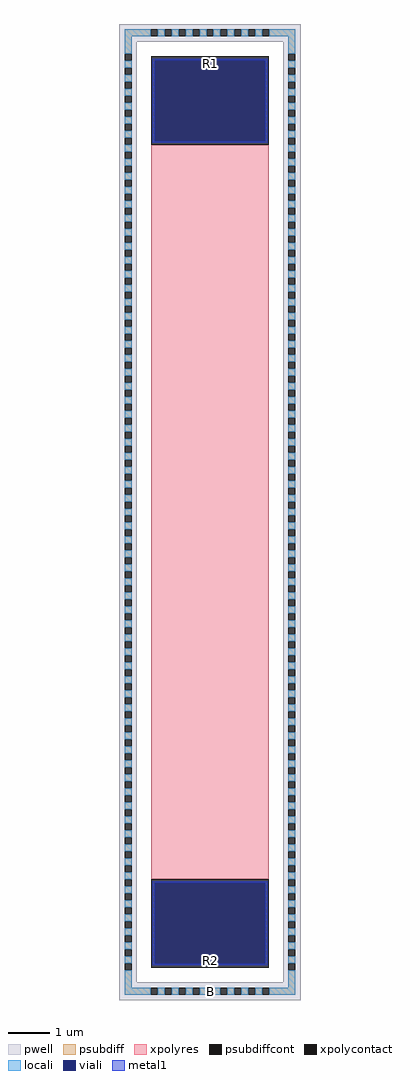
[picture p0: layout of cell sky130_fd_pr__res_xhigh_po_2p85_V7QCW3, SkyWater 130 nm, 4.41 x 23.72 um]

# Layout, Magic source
magic
tech sky130A
magscale 1 2
<< pwell >>
rect -441 2286 441 2372
rect -441 -2286 -355 2286
rect 355 -2286 441 2286
rect -441 -2372 441 -2286
<< psubdiff >>
rect -415 2312 -289 2346
rect -255 2312 -221 2346
rect -187 2312 -153 2346
rect -119 2312 -85 2346
rect -51 2312 -17 2346
rect 17 2312 51 2346
rect 85 2312 119 2346
rect 153 2312 187 2346
rect 221 2312 255 2346
rect 289 2312 415 2346
rect -415 2227 -381 2312
rect 381 2227 415 2312
rect -415 2159 -381 2193
rect -415 2091 -381 2125
rect -415 2023 -381 2057
rect -415 1955 -381 1989
rect -415 1887 -381 1921
rect -415 1819 -381 1853
rect -415 1751 -381 1785
rect -415 1683 -381 1717
rect -415 1615 -381 1649
rect -415 1547 -381 1581
rect -415 1479 -381 1513
rect -415 1411 -381 1445
rect -415 1343 -381 1377
rect -415 1275 -381 1309
rect -415 1207 -381 1241
rect -415 1139 -381 1173
rect -415 1071 -381 1105
rect -415 1003 -381 1037
rect -415 935 -381 969
rect -415 867 -381 901
rect -415 799 -381 833
rect -415 731 -381 765
rect -415 663 -381 697
rect -415 595 -381 629
rect -415 527 -381 561
rect -415 459 -381 493
rect -415 391 -381 425
rect -415 323 -381 357
rect -415 255 -381 289
rect -415 187 -381 221
rect -415 119 -381 153
rect -415 51 -381 85
rect -415 -17 -381 17
rect -415 -85 -381 -51
rect -415 -153 -381 -119
rect -415 -221 -381 -187
rect -415 -289 -381 -255
rect -415 -357 -381 -323
rect -415 -425 -381 -391
rect -415 -493 -381 -459
rect -415 -561 -381 -527
rect -415 -629 -381 -595
rect -415 -697 -381 -663
rect -415 -765 -381 -731
rect -415 -833 -381 -799
rect -415 -901 -381 -867
rect -415 -969 -381 -935
rect -415 -1037 -381 -1003
rect -415 -1105 -381 -1071
rect -415 -1173 -381 -1139
rect -415 -1241 -381 -1207
rect -415 -1309 -381 -1275
rect -415 -1377 -381 -1343
rect -415 -1445 -381 -1411
rect -415 -1513 -381 -1479
rect -415 -1581 -381 -1547
rect -415 -1649 -381 -1615
rect -415 -1717 -381 -1683
rect -415 -1785 -381 -1751
rect -415 -1853 -381 -1819
rect -415 -1921 -381 -1887
rect -415 -1989 -381 -1955
rect -415 -2057 -381 -2023
rect -415 -2125 -381 -2091
rect -415 -2193 -381 -2159
rect 381 2159 415 2193
rect 381 2091 415 2125
rect 381 2023 415 2057
rect 381 1955 415 1989
rect 381 1887 415 1921
rect 381 1819 415 1853
rect 381 1751 415 1785
rect 381 1683 415 1717
rect 381 1615 415 1649
rect 381 1547 415 1581
rect 381 1479 415 1513
rect 381 1411 415 1445
rect 381 1343 415 1377
rect 381 1275 415 1309
rect 381 1207 415 1241
rect 381 1139 415 1173
rect 381 1071 415 1105
rect 381 1003 415 1037
rect 381 935 415 969
rect 381 867 415 901
rect 381 799 415 833
rect 381 731 415 765
rect 381 663 415 697
rect 381 595 415 629
rect 381 527 415 561
rect 381 459 415 493
rect 381 391 415 425
rect 381 323 415 357
rect 381 255 415 289
rect 381 187 415 221
rect 381 119 415 153
rect 381 51 415 85
rect 381 -17 415 17
rect 381 -85 415 -51
rect 381 -153 415 -119
rect 381 -221 415 -187
rect 381 -289 415 -255
rect 381 -357 415 -323
rect 381 -425 415 -391
rect 381 -493 415 -459
rect 381 -561 415 -527
rect 381 -629 415 -595
rect 381 -697 415 -663
rect 381 -765 415 -731
rect 381 -833 415 -799
rect 381 -901 415 -867
rect 381 -969 415 -935
rect 381 -1037 415 -1003
rect 381 -1105 415 -1071
rect 381 -1173 415 -1139
rect 381 -1241 415 -1207
rect 381 -1309 415 -1275
rect 381 -1377 415 -1343
rect 381 -1445 415 -1411
rect 381 -1513 415 -1479
rect 381 -1581 415 -1547
rect 381 -1649 415 -1615
rect 381 -1717 415 -1683
rect 381 -1785 415 -1751
rect 381 -1853 415 -1819
rect 381 -1921 415 -1887
rect 381 -1989 415 -1955
rect 381 -2057 415 -2023
rect 381 -2125 415 -2091
rect 381 -2193 415 -2159
rect -415 -2312 -381 -2227
rect 381 -2312 415 -2227
rect -415 -2346 -289 -2312
rect -255 -2346 -221 -2312
rect -187 -2346 -153 -2312
rect -119 -2346 -85 -2312
rect -51 -2346 -17 -2312
rect 17 -2346 51 -2312
rect 85 -2346 119 -2312
rect 153 -2346 187 -2312
rect 221 -2346 255 -2312
rect 289 -2346 415 -2312
<< psubdiffcont >>
rect -289 2312 -255 2346
rect -221 2312 -187 2346
rect -153 2312 -119 2346
rect -85 2312 -51 2346
rect -17 2312 17 2346
rect 51 2312 85 2346
rect 119 2312 153 2346
rect 187 2312 221 2346
rect 255 2312 289 2346
rect -415 2193 -381 2227
rect -415 2125 -381 2159
rect -415 2057 -381 2091
rect -415 1989 -381 2023
rect -415 1921 -381 1955
rect -415 1853 -381 1887
rect -415 1785 -381 1819
rect -415 1717 -381 1751
rect -415 1649 -381 1683
rect -415 1581 -381 1615
rect -415 1513 -381 1547
rect -415 1445 -381 1479
rect -415 1377 -381 1411
rect -415 1309 -381 1343
rect -415 1241 -381 1275
rect -415 1173 -381 1207
rect -415 1105 -381 1139
rect -415 1037 -381 1071
rect -415 969 -381 1003
rect -415 901 -381 935
rect -415 833 -381 867
rect -415 765 -381 799
rect -415 697 -381 731
rect -415 629 -381 663
rect -415 561 -381 595
rect -415 493 -381 527
rect -415 425 -381 459
rect -415 357 -381 391
rect -415 289 -381 323
rect -415 221 -381 255
rect -415 153 -381 187
rect -415 85 -381 119
rect -415 17 -381 51
rect -415 -51 -381 -17
rect -415 -119 -381 -85
rect -415 -187 -381 -153
rect -415 -255 -381 -221
rect -415 -323 -381 -289
rect -415 -391 -381 -357
rect -415 -459 -381 -425
rect -415 -527 -381 -493
rect -415 -595 -381 -561
rect -415 -663 -381 -629
rect -415 -731 -381 -697
rect -415 -799 -381 -765
rect -415 -867 -381 -833
rect -415 -935 -381 -901
rect -415 -1003 -381 -969
rect -415 -1071 -381 -1037
rect -415 -1139 -381 -1105
rect -415 -1207 -381 -1173
rect -415 -1275 -381 -1241
rect -415 -1343 -381 -1309
rect -415 -1411 -381 -1377
rect -415 -1479 -381 -1445
rect -415 -1547 -381 -1513
rect -415 -1615 -381 -1581
rect -415 -1683 -381 -1649
rect -415 -1751 -381 -1717
rect -415 -1819 -381 -1785
rect -415 -1887 -381 -1853
rect -415 -1955 -381 -1921
rect -415 -2023 -381 -1989
rect -415 -2091 -381 -2057
rect -415 -2159 -381 -2125
rect -415 -2227 -381 -2193
rect 381 2193 415 2227
rect 381 2125 415 2159
rect 381 2057 415 2091
rect 381 1989 415 2023
rect 381 1921 415 1955
rect 381 1853 415 1887
rect 381 1785 415 1819
rect 381 1717 415 1751
rect 381 1649 415 1683
rect 381 1581 415 1615
rect 381 1513 415 1547
rect 381 1445 415 1479
rect 381 1377 415 1411
rect 381 1309 415 1343
rect 381 1241 415 1275
rect 381 1173 415 1207
rect 381 1105 415 1139
rect 381 1037 415 1071
rect 381 969 415 1003
rect 381 901 415 935
rect 381 833 415 867
rect 381 765 415 799
rect 381 697 415 731
rect 381 629 415 663
rect 381 561 415 595
rect 381 493 415 527
rect 381 425 415 459
rect 381 357 415 391
rect 381 289 415 323
rect 381 221 415 255
rect 381 153 415 187
rect 381 85 415 119
rect 381 17 415 51
rect 381 -51 415 -17
rect 381 -119 415 -85
rect 381 -187 415 -153
rect 381 -255 415 -221
rect 381 -323 415 -289
rect 381 -391 415 -357
rect 381 -459 415 -425
rect 381 -527 415 -493
rect 381 -595 415 -561
rect 381 -663 415 -629
rect 381 -731 415 -697
rect 381 -799 415 -765
rect 381 -867 415 -833
rect 381 -935 415 -901
rect 381 -1003 415 -969
rect 381 -1071 415 -1037
rect 381 -1139 415 -1105
rect 381 -1207 415 -1173
rect 381 -1275 415 -1241
rect 381 -1343 415 -1309
rect 381 -1411 415 -1377
rect 381 -1479 415 -1445
rect 381 -1547 415 -1513
rect 381 -1615 415 -1581
rect 381 -1683 415 -1649
rect 381 -1751 415 -1717
rect 381 -1819 415 -1785
rect 381 -1887 415 -1853
rect 381 -1955 415 -1921
rect 381 -2023 415 -1989
rect 381 -2091 415 -2057
rect 381 -2159 415 -2125
rect 381 -2227 415 -2193
rect -289 -2346 -255 -2312
rect -221 -2346 -187 -2312
rect -153 -2346 -119 -2312
rect -85 -2346 -51 -2312
rect -17 -2346 17 -2312
rect 51 -2346 85 -2312
rect 119 -2346 153 -2312
rect 187 -2346 221 -2312
rect 255 -2346 289 -2312
<< xpolycontact >>
rect -285 1784 285 2216
rect -285 -2216 285 -1784
<< xpolyres >>
rect -285 -1784 285 1784
<< locali >>
rect -415 2312 -289 2346
rect -255 2312 -221 2346
rect -187 2312 -153 2346
rect -119 2312 -85 2346
rect -51 2312 -17 2346
rect 17 2312 51 2346
rect 85 2312 119 2346
rect 153 2312 187 2346
rect 221 2312 255 2346
rect 289 2312 415 2346
rect -415 2227 -381 2312
rect 381 2227 415 2312
rect -415 2159 -381 2193
rect -415 2091 -381 2125
rect -415 2023 -381 2057
rect -415 1955 -381 1989
rect -415 1887 -381 1921
rect -415 1819 -381 1853
rect -415 1751 -381 1785
rect 381 2159 415 2193
rect 381 2091 415 2125
rect 381 2023 415 2057
rect 381 1955 415 1989
rect 381 1887 415 1921
rect 381 1819 415 1853
rect -415 1683 -381 1717
rect -415 1615 -381 1649
rect -415 1547 -381 1581
rect -415 1479 -381 1513
rect -415 1411 -381 1445
rect -415 1343 -381 1377
rect -415 1275 -381 1309
rect -415 1207 -381 1241
rect -415 1139 -381 1173
rect -415 1071 -381 1105
rect -415 1003 -381 1037
rect -415 935 -381 969
rect -415 867 -381 901
rect -415 799 -381 833
rect -415 731 -381 765
rect -415 663 -381 697
rect -415 595 -381 629
rect -415 527 -381 561
rect -415 459 -381 493
rect -415 391 -381 425
rect -415 323 -381 357
rect -415 255 -381 289
rect -415 187 -381 221
rect -415 119 -381 153
rect -415 51 -381 85
rect -415 -17 -381 17
rect -415 -85 -381 -51
rect -415 -153 -381 -119
rect -415 -221 -381 -187
rect -415 -289 -381 -255
rect -415 -357 -381 -323
rect -415 -425 -381 -391
rect -415 -493 -381 -459
rect -415 -561 -381 -527
rect -415 -629 -381 -595
rect -415 -697 -381 -663
rect -415 -765 -381 -731
rect -415 -833 -381 -799
rect -415 -901 -381 -867
rect -415 -969 -381 -935
rect -415 -1037 -381 -1003
rect -415 -1105 -381 -1071
rect -415 -1173 -381 -1139
rect -415 -1241 -381 -1207
rect -415 -1309 -381 -1275
rect -415 -1377 -381 -1343
rect -415 -1445 -381 -1411
rect -415 -1513 -381 -1479
rect -415 -1581 -381 -1547
rect -415 -1649 -381 -1615
rect -415 -1717 -381 -1683
rect -415 -1785 -381 -1751
rect 381 1751 415 1785
rect 381 1683 415 1717
rect 381 1615 415 1649
rect 381 1547 415 1581
rect 381 1479 415 1513
rect 381 1411 415 1445
rect 381 1343 415 1377
rect 381 1275 415 1309
rect 381 1207 415 1241
rect 381 1139 415 1173
rect 381 1071 415 1105
rect 381 1003 415 1037
rect 381 935 415 969
rect 381 867 415 901
rect 381 799 415 833
rect 381 731 415 765
rect 381 663 415 697
rect 381 595 415 629
rect 381 527 415 561
rect 381 459 415 493
rect 381 391 415 425
rect 381 323 415 357
rect 381 255 415 289
rect 381 187 415 221
rect 381 119 415 153
rect 381 51 415 85
rect 381 -17 415 17
rect 381 -85 415 -51
rect 381 -153 415 -119
rect 381 -221 415 -187
rect 381 -289 415 -255
rect 381 -357 415 -323
rect 381 -425 415 -391
rect 381 -493 415 -459
rect 381 -561 415 -527
rect 381 -629 415 -595
rect 381 -697 415 -663
rect 381 -765 415 -731
rect 381 -833 415 -799
rect 381 -901 415 -867
rect 381 -969 415 -935
rect 381 -1037 415 -1003
rect 381 -1105 415 -1071
rect 381 -1173 415 -1139
rect 381 -1241 415 -1207
rect 381 -1309 415 -1275
rect 381 -1377 415 -1343
rect 381 -1445 415 -1411
rect 381 -1513 415 -1479
rect 381 -1581 415 -1547
rect 381 -1649 415 -1615
rect 381 -1717 415 -1683
rect -415 -1853 -381 -1819
rect -415 -1921 -381 -1887
rect -415 -1989 -381 -1955
rect -415 -2057 -381 -2023
rect -415 -2125 -381 -2091
rect -415 -2193 -381 -2159
rect 381 -1785 415 -1751
rect 381 -1853 415 -1819
rect 381 -1921 415 -1887
rect 381 -1989 415 -1955
rect 381 -2057 415 -2023
rect 381 -2125 415 -2091
rect 381 -2193 415 -2159
rect -415 -2312 -381 -2227
rect 381 -2312 415 -2227
rect -415 -2346 -289 -2312
rect -255 -2346 -221 -2312
rect -187 -2346 -153 -2312
rect -119 -2346 -85 -2312
rect -51 -2346 -17 -2312
rect 17 -2346 51 -2312
rect 85 -2346 119 -2312
rect 153 -2346 187 -2312
rect 221 -2346 255 -2312
rect 289 -2346 415 -2312
<< viali >>
rect -269 1802 269 2196
rect -269 -2197 269 -1803
<< metal1 >>
rect -281 2196 281 2204
rect -281 1802 -269 2196
rect 269 1802 281 2196
rect -281 1795 281 1802
rect -281 -1803 281 -1795
rect -281 -2197 -269 -1803
rect 269 -2197 281 -1803
rect -281 -2204 281 -2197
<< labels >>
rlabel locali s 0 -2329 0 -2329 4 B
rlabel locali s 0 2181 0 2181 4 R1
rlabel locali s 0 -2181 0 -2181 4 R2
<< properties >>
string FIXED_BBOX -398 -2329 398 2329
<< end >>
